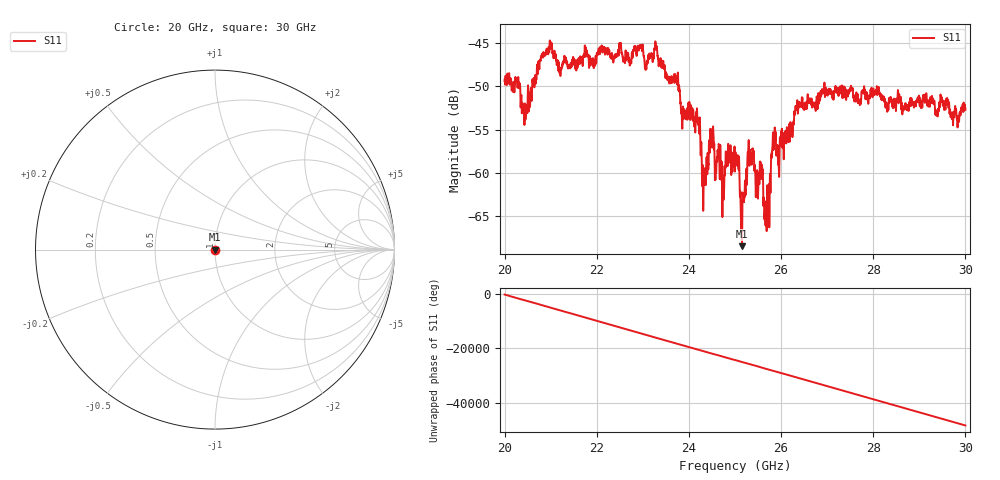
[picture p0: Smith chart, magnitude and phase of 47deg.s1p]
#  HZ  S  RI  R  50.00
! Rohde & Schwarz ZVA40 4Ports - Version 3.90 - 1145.1110k42 SN: 100403
! Date: 2023-10-03 11:57:13
! Measurement: S12
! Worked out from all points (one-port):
!   5001 points, 20 GHz to 30 GHz, reference 50 ohm
!   lowest |S11| = -68.5 dB at 25.15 GHz (marker M1), VSWR 1.00, Z = 50 - j0.00787 ohm
!   |S11| at or under -10 dB: start of sweep to end of sweep
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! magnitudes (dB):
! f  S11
! 20 GHz  -49.4
! 20.28 GHz  -50.0
! 20.45 GHz  -52.3
! 20.81 GHz  -46.4
! 21.25 GHz  -47.7
! 22.5 GHz  -45.1
! 23.29 GHz  -45.3
! 23.75 GHz  -49.8
! 23.87 GHz  -52.5
! 24.2 GHz  -54.5
! 24.33 GHz  -60.5
! 24.49 GHz  -56.1
! 24.74 GHz  -60.8
! 24.84 GHz  -58.5
! 25 GHz  -59.9
! 25.05 GHz  -58.3
! 25.15 GHz  -68.5
! 25.34 GHz  -58.3
! 25.48 GHz  -59.8
! 25.56 GHz  -59.1
! 25.68 GHz  -65.2
! 25.84 GHz  -57.0
! 25.94 GHz  -58.9
! 26.25 GHz  -55.4
! 26.42 GHz  -52.2
! 27.5 GHz  -50.5
! 28.75 GHz  -52.3
! 30 GHz  -52.7
